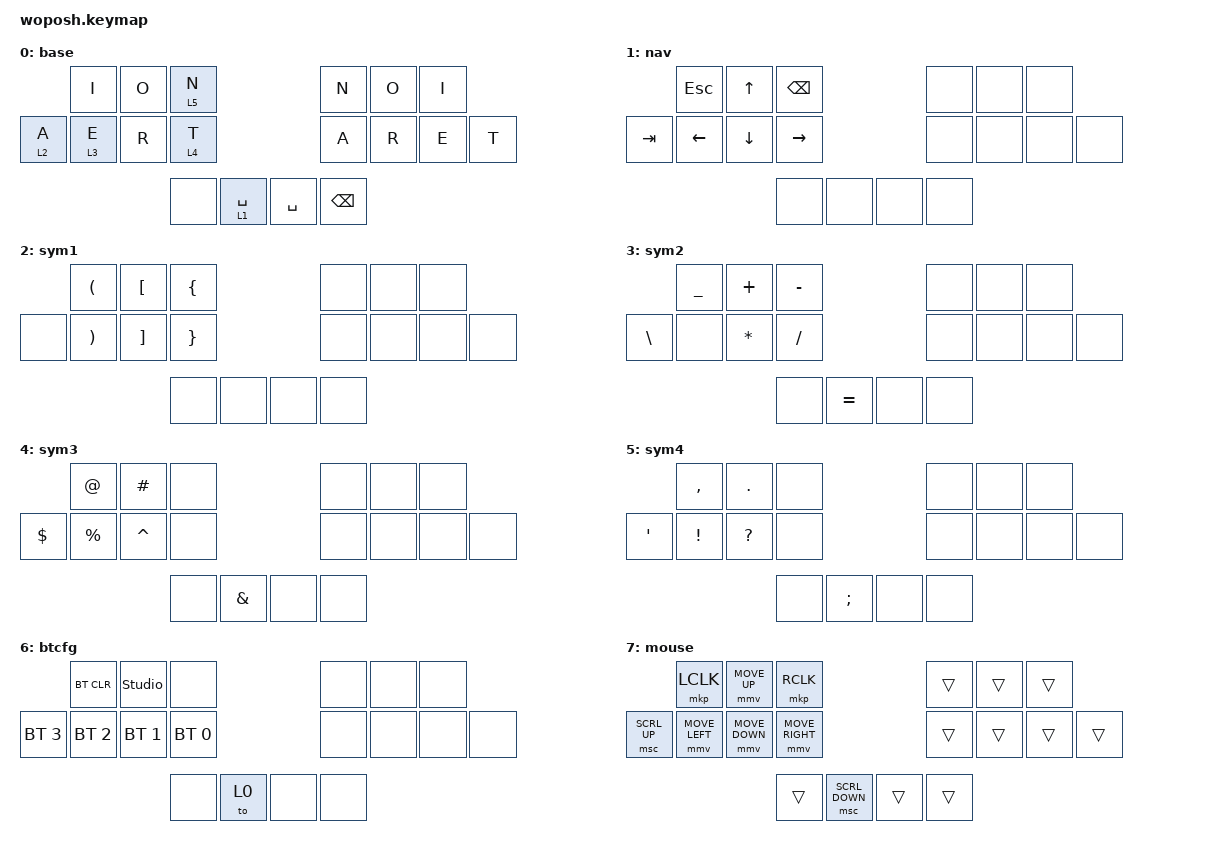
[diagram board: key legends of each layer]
// This file was generated from a template. Edit it to match your keyboard.
// See https://zmk.dev/docs/development/hardware-integration/new-shield for more instructions.

#include <behaviors.dtsi>
#include <dt-bindings/zmk/bt.h>
#include <dt-bindings/zmk/keys.h>
#include <dt-bindings/zmk/pointing.h>

#define BASE   0
#define LOWER  1
#define RAISE  2
#define BOTH   3
#define ADJ    4
#define EX     5
#define DET    6

/ {
    // Define a default keymap here.
    // See https://zmk.dev/docs/development/hardware-integration/new-shield#default-keymap.

    combos {
        compatible = "zmk,combos";

        combo_s {
            bindings = <&kp S>;
            key-positions = <6 7>;
            layers = <0>;
            timeout-ms = <30>;
        };

        combo_h {
            bindings = <&kp H>;
            key-positions = <0 6>;
            layers = <0>;
            timeout-ms = <30>;
        };

        combo_d {
            bindings = <&kp D>;
            key-positions = <1 2>;
            layers = <0>;
            timeout-ms = <30>;
        };

        combo_l {
            bindings = <&kp L>;
            key-positions = <7 8 9>;
            layers = <0>;
            timeout-ms = <30>;
        };

        combo_c {
            bindings = <&kp C>;
            key-positions = <8 9>;
            layers = <0>;
            timeout-ms = <30>;
        };

        combo_u {
            bindings = <&kp U>;
            key-positions = <7 8>;
            layers = <0>;
            timeout-ms = <30>;
        };

        combo_m {
            bindings = <&kp M>;
            key-positions = <9 7>;
            layers = <0>;
            timeout-ms = <30>;
        };

        combo_w {
            bindings = <&kp W>;
            key-positions = <2 0>;
            layers = <0>;
            timeout-ms = <30>;
        };

        combo_f {
            bindings = <&kp F>;
            key-positions = <0 1>;
            layers = <0>;
            timeout-ms = <30>;
        };

        combo_g {
            bindings = <&kp G>;
            key-positions = <1 7>;
            layers = <0>;
            timeout-ms = <30>;
        };

        combo_y {
            bindings = <&kp Y>;
            key-positions = <1 0 9>;
            layers = <0>;
            timeout-ms = <30>;
        };

        combo_p {
            bindings = <&kp P>;
            key-positions = <2 6>;
            layers = <0>;
            timeout-ms = <30>;
        };

        combo_b {
            bindings = <&kp B>;
            key-positions = <6 9>;
            layers = <0>;
            timeout-ms = <30>;
        };

        combo_v {
            bindings = <&kp V>;
            key-positions = <2 7>;
            layers = <0>;
            timeout-ms = <30>;
        };

        combo_k {
            bindings = <&kp K>;
            key-positions = <9 1>;
            layers = <0>;
            timeout-ms = <30>;
        };

        combo_j {
            bindings = <&kp J>;
            key-positions = <0 9>;
            layers = <0>;
            timeout-ms = <30>;
        };

        combo_x {
            bindings = <&kp X>;
            key-positions = <1 0 2>;
            layers = <0>;
            timeout-ms = <30>;
        };

        combo_q {
            bindings = <&kp Q>;
            key-positions = <0 6 1>;
            layers = <0>;
            timeout-ms = <30>;
        };

        combo_z {
            bindings = <&kp Z>;
            key-positions = <7 8 6>;
            layers = <0>;
            timeout-ms = <30>;
        };

        tobt {
            bindings = <&to 6>;
            key-positions = <1 0 7 2 8 9>;
            layers = <0>;
        };

        combo_0 {
            bindings = <&kp N0>;
            key-positions = <1 2 15>;
            layers = <0>;
        };

        combo_1 {
            bindings = <&kp NUMBER_1>;
            key-positions = <7 15>;
            layers = <0>;
        };

        combo_2 {
            bindings = <&kp NUMBER_2>;
            key-positions = <15 8>;
            layers = <0>;
        };

        combo_3 {
            bindings = <&kp NUMBER_3>;
            key-positions = <9 15>;
            layers = <0>;
        };

        combo_4 {
            bindings = <&kp NUMBER_4>;
            key-positions = <0 15>;
            layers = <0>;
        };

        combo_5 {
            bindings = <&kp N5>;
            key-positions = <15 1>;
            layers = <0>;
        };

        combo_6 {
            bindings = <&kp NUMBER_6>;
            key-positions = <2 15>;
            layers = <0>;
        };

        combo_7 {
            bindings = <&kp N7>;
            key-positions = <7 8 15>;
            layers = <0>;
        };

        combo_8 {
            bindings = <&kp N8>;
            key-positions = <9 8 15>;
            layers = <0>;
        };

        combo_9 {
            bindings = <&kp N9>;
            key-positions = <1 0 15>;
            layers = <0>;
        };

        combo_skctrl {
            bindings = <&sk LCTRL>;
            key-positions = <0 7>;
            layers = <0>;
        };

        combo_skalt {
            bindings = <&sk LEFT_ALT>;
            key-positions = <1 8>;
            layers = <0>;
        };

        combo_skgui {
            bindings = <&sk LEFT_GUI>;
            key-positions = <2 9>;
            layers = <0>;
        };

        combo_home {
            bindings = <&kp HOME>;
            key-positions = <0 1>;
            layers = <1>;
        };

        combo_end {
            bindings = <&kp END>;
            key-positions = <1 2>;
            layers = <1>;
        };

        combo_enter {
            bindings = <&kp ENTER>;
            key-positions = <8 9>;
            layers = <1>;
        };

        combo_pgup {
            bindings = <&kp PG_UP>;
            key-positions = <0 1 2>;
            layers = <1>;
        };

        combo_pgdn {
            bindings = <&kp PG_DN>;
            key-positions = <7 8 9>;
            layers = <1>;
        };

        combo_del {
            bindings = <&kp DELETE>;
            key-positions = <7 2>;
            layers = <1>;
        };

        combo_ins {
            bindings = <&kp INSERT>;
            key-positions = <9 7>;
            layers = <1>;
        };

        combo_shift {
            bindings = <&sk LEFT_SHIFT>;
            key-positions = <6 15>;
        };

        combo_grave {
            bindings = <&kp GRAVE>;
            key-positions = <1 0>;
            layers = <5>;
        };

        combo_caps {
            bindings = <&kp CAPSLOCK>;
            key-positions = <6 7>;
            layers = <1>;
        };

        combo_capsw {
            bindings = <&caps_word>;
            key-positions = <8 7 6>;
            layers = <1>;
        };

        combo_tomou {
            bindings = <&to 7>;
            key-positions = <1 7 9>;
            layers = <0>;
        };

        combo_moutobase {
            bindings = <&to 0>;
            key-positions = <1 7 9>;
            layers = <7>;
        };
    };

    behaviors {
        hl: home_layer {
            compatible = "zmk,behavior-hold-tap";
            label = "HOME_LAYER";
            bindings = <&mo>, <&kp>;

            #binding-cells = <2>;
            tapping-term-ms = <300>;
            quick-tap-ms = <200>;
            flavor = "tap-preferred";
        };
    };

    keymap {
        compatible = "zmk,keymap";

        base {
            bindings = <
&kp I  &kp O  &hl 5 N  &kp N  &kp O  &kp I  &hl 2 A  &hl 3 E  &kp R  &hl 4 T  &kp A  &kp R  &kp E  &kp T  &none  &hl 1 SPACE  &kp SPACE  &kp BSPC
            >;
        };

        nav {
            bindings = <
&kp ESCAPE  &kp UP_ARROW  &kp BACKSPACE  &none  &none  &none  &kp TAB  &kp LEFT_ARROW  &kp DOWN_ARROW  &kp RIGHT_ARROW  &none  &none  &none  &none  &none  &none  &none  &none
            >;
        };

        sym1 {
            bindings = <
&kp LEFT_PARENTHESIS  &kp LBKT  &kp LEFT_BRACE  &none  &none  &none  &none  &kp RIGHT_PARENTHESIS  &kp RBKT  &kp RIGHT_BRACE  &none  &none  &none  &none  &none  &none  &none  &none
            >;
        };

        sym2 {
            bindings = <
&kp UNDERSCORE  &kp PLUS  &kp MINUS  &none  &none  &none  &kp BACKSLASH  &none  &kp ASTERISK  &kp SLASH  &none  &none  &none  &none  &none  &kp EQUAL  &none  &none
            >;
        };

        sym3 {
            bindings = <
&kp AT_SIGN  &kp POUND  &none  &none  &none  &none  &kp DOLLAR  &kp PERCENT  &kp CARET  &none  &none  &none  &none  &none  &none  &kp AMPERSAND  &none  &none
            >;
        };

        sym4 {
            bindings = <
&kp COMMA  &kp DOT  &none  &none  &none  &none  &kp SQT  &kp EXCLAMATION  &kp QUESTION  &none  &none  &none  &none  &none  &none  &kp SEMICOLON  &none  &none
            >;
        };

        btcfg {
            bindings = <
&bt BT_CLR  &studio_unlock  &none  &none  &none  &none  &bt BT_SEL 3  &bt BT_SEL 2  &bt BT_SEL 1  &bt BT_SEL 0  &none  &none  &none  &none  &none  &to 0  &none  &none
            >;
        };

        mouse {
            bindings = <
&mkp LCLK  &mmv MOVE_UP  &mkp RCLK  &trans  &trans  &trans  &msc SCRL_UP  &mmv MOVE_LEFT  &mmv MOVE_DOWN  &mmv MOVE_RIGHT  &trans  &trans  &trans  &trans  &trans  &msc SCRL_DOWN  &trans  &trans
            >;
        };
    };

    conditional_layers { compatible = "zmk,conditional-layers"; };
};
